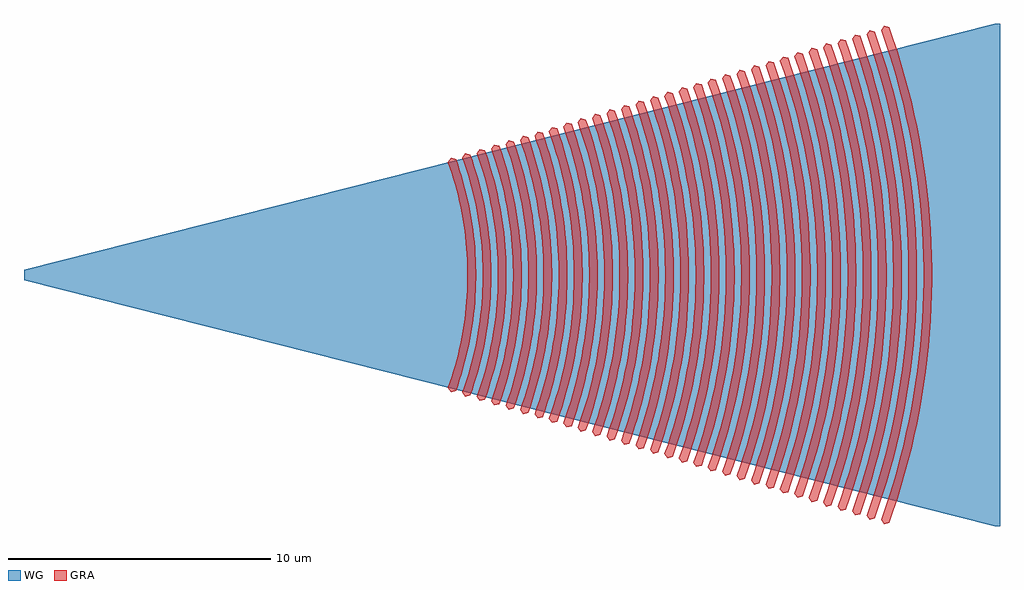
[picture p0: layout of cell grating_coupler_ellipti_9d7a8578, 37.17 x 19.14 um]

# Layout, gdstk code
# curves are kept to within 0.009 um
import gdstk
lib = gdstk.Library(unit=1e-6, precision=1e-09)
def P(c, l, *ps):  # polygons
    for p in ps: c.add(gdstk.Polygon(p, *l))
WG = (3, 0)
GRA = (6, 0)

grating_coupler_ellipti_ = lib.new_cell('grating_coupler_ellipti_9d7a8578')
P(grating_coupler_ellipti_, WG, [(34.97,-9.57),(-2,-0.2),(-2,0.2),(34.97,9.57),(35.17,9.57),(35.17,-9.57)])
P(grating_coupler_ellipti_, GRA, [(14.262,-4.461),(14.143,-4.303),(14.287,-3.875),(14.475,-3.226),(14.581,-2.789),(14.711,-2.127),(14.806,-1.459),(14.849,-1.011),(14.888,-0.113),(14.885,0.338),(14.849,1.011),(14.806,1.459),(14.711,2.127),(14.581,2.789),(14.475,3.226),(14.287,3.875),(14.143,4.303),(14.262,4.461),(14.453,4.411),(14.669,3.754),(14.903,2.861),(15.035,2.181),(15.132,1.497),(15.193,0.807),(15.218,0.115),(15.205,-0.576),(15.157,-1.267),(15.072,-1.954),(14.903,-2.861),(14.669,-3.754),(14.453,-4.411)],
  [(14.812,-4.628),(14.693,-4.47),(14.911,-3.803),(15.038,-3.352),(15.148,-2.898),(15.283,-2.21),(15.382,-1.515),(15.427,-1.05),(15.456,-0.584),(15.467,-0.117),(15.464,0.351),(15.443,0.817),(15.353,1.747),(15.242,2.44),(15.095,3.125),(14.911,3.803),(14.693,4.47),(14.812,4.628),(15.003,4.578),(15.227,3.897),(15.47,2.97),(15.607,2.264),(15.708,1.553),(15.771,0.837),(15.796,0.119),(15.784,-0.598),(15.734,-1.315),(15.646,-2.028),(15.519,-2.735),(15.415,-3.203),(15.293,-3.666),(15.003,-4.578)],
  [(15.362,-4.796),(15.242,-4.638),(15.398,-4.177),(15.601,-3.477),(15.766,-2.769),(15.855,-2.293),(15.928,-1.813),(15.983,-1.331),(16.022,-0.848),(16.046,-0.122),(16.043,0.364),(16.022,0.848),(15.928,1.813),(15.812,2.532),(15.66,3.242),(15.469,3.945),(15.242,4.638),(15.362,4.796),(15.554,4.746),(15.854,3.801),(16.036,3.078),(16.179,2.347),(16.284,1.61),(16.35,0.868),(16.375,0.124),(16.362,-0.62),(16.311,-1.363),(16.219,-2.103),(16.088,-2.835),(15.98,-3.32),(15.854,-3.801),(15.554,-4.746)],
  [(15.912,-4.964),(15.792,-4.806),(15.954,-4.328),(16.164,-3.603),(16.383,-2.623),(16.467,-2.127),(16.559,-1.379),(16.6,-0.879),(16.626,-0.126),(16.622,0.377),(16.6,0.879),(16.502,1.879),(16.383,2.623),(16.225,3.359),(16.028,4.088),(15.792,4.806),(15.912,4.964),(16.104,4.914),(16.344,4.182),(16.603,3.187),(16.751,2.431),(16.859,1.667),(16.928,0.899),(16.954,0.128),(16.941,-0.642),(16.887,-1.411),(16.793,-2.177),(16.657,-2.935),(16.545,-3.437),(16.414,-3.934),(16.268,-4.428),(16.104,-4.914)],
  [(16.462,-5.131),(16.343,-4.973),(16.586,-4.23),(16.727,-3.729),(16.904,-2.969),(17.04,-2.201),(17.109,-1.686),(17.159,-1.169),(17.192,-0.65),(17.204,-0.13),(17.201,0.39),(17.178,0.909),(17.077,1.944),(16.953,2.714),(16.79,3.478),(16.586,4.23),(16.343,4.973),(16.462,5.131),(16.653,5.081),(16.823,4.579),(16.975,4.069),(17.11,3.554),(17.226,3.035),(17.366,2.251),(17.464,1.459),(17.52,0.664),(17.534,0.132),(17.52,-0.664),(17.464,-1.459),(17.366,-2.251),(17.226,-3.035),(17.11,-3.554),(16.975,-4.069),(16.823,-4.579),(16.653,-5.081)],
  [(17.011,-5.299),(16.892,-5.141),(17.144,-4.373),(17.355,-3.594),(17.524,-2.806),(17.613,-2.275),(17.685,-1.743),(17.737,-1.208),(17.77,-0.672),(17.784,-0.135),(17.78,0.403),(17.756,0.94),(17.713,1.476),(17.652,2.009),(17.524,2.806),(17.355,3.594),(17.144,4.373),(16.892,5.141),(17.011,5.299),(17.202,5.249),(17.46,4.467),(17.737,3.404),(17.895,2.595),(18.011,1.781),(18.084,0.96),(18.112,0.137),(18.098,-0.686),(18.041,-1.508),(17.939,-2.325),(17.794,-3.136),(17.675,-3.672),(17.535,-4.203),(17.379,-4.73),(17.202,-5.249)],
  [(17.561,-5.465),(17.442,-5.308),(17.702,-4.515),(17.92,-3.711),(18.041,-3.17),(18.187,-2.349),(18.261,-1.799),(18.314,-1.247),(18.349,-0.694),(18.362,-0.139),(18.358,0.417),(18.334,0.971),(18.261,1.799),(18.187,2.349),(18.041,3.17),(17.92,3.711),(17.702,4.515),(17.442,5.308),(17.561,5.465),(17.752,5.416),(17.934,4.881),(18.096,4.337),(18.24,3.789),(18.363,3.236),(18.513,2.399),(18.617,1.556),(18.662,0.991),(18.692,0.141),(18.677,-0.708),(18.617,-1.556),(18.513,-2.399),(18.363,-3.236),(18.24,-3.789),(18.096,-4.337),(17.934,-4.881),(17.752,-5.416)],
  [(18.111,-5.634),(17.992,-5.476),(18.26,-4.658),(18.485,-3.828),(18.61,-3.27),(18.76,-2.425),(18.836,-1.856),(18.891,-1.287),(18.927,-0.716),(18.942,-0.144),(18.937,0.43),(18.912,1.001),(18.866,1.572),(18.801,2.14),(18.665,2.989),(18.485,3.828),(18.26,4.658),(17.992,5.476),(18.111,5.634),(18.302,5.584),(18.49,5.031),(18.657,4.471),(18.805,3.906),(18.932,3.336),(19.086,2.473),(19.194,1.604),(19.24,1.021),(19.27,0.146),(19.255,-0.73),(19.194,-1.604),(19.086,-2.473),(18.932,-3.336),(18.805,-3.906),(18.657,-4.471),(18.49,-5.031),(18.302,-5.584)],
  [(18.661,-5.801),(18.542,-5.643),(18.818,-4.801),(18.978,-4.231),(19.179,-3.37),(19.334,-2.498),(19.412,-1.913),(19.469,-1.326),(19.506,-0.737),(19.52,-0.148),(19.516,0.443),(19.49,1.032),(19.412,1.913),(19.334,2.498),(19.179,3.37),(18.978,4.231),(18.818,4.801),(18.542,5.643),(18.661,5.801),(18.852,5.751),(19.045,5.182),(19.217,4.605),(19.37,4.023),(19.501,3.436),(19.66,2.548),(19.771,1.652),(19.834,0.751),(19.85,0.15),(19.834,-0.751),(19.771,-1.652),(19.66,-2.548),(19.501,-3.436),(19.37,-4.023),(19.217,-4.605),(19.045,-5.182),(18.852,-5.751)],
  [(19.211,-5.969),(19.092,-5.811),(19.376,-4.943),(19.615,-4.063),(19.748,-3.47),(19.907,-2.573),(19.988,-1.97),(20.046,-1.366),(20.084,-0.759),(20.1,-0.152),(20.095,0.456),(20.068,1.063),(19.988,1.97),(19.907,2.573),(19.748,3.47),(19.615,4.063),(19.376,4.943),(19.092,5.811),(19.211,5.969),(19.402,5.919),(19.601,5.333),(19.778,4.739),(19.935,4.141),(20.07,3.536),(20.233,2.621),(20.347,1.7),(20.396,1.083),(20.428,0.154),(20.412,-0.773),(20.347,-1.7),(20.233,-2.621),(20.07,-3.536),(19.935,-4.141),(19.778,-4.739),(19.601,-5.333),(19.402,-5.919)],
  [(19.761,-6.137),(19.642,-5.979),(19.842,-5.384),(20.104,-4.483),(20.317,-3.57),(20.481,-2.646),(20.564,-2.027),(20.624,-1.405),(20.663,-0.781),(20.678,-0.157),(20.674,0.469),(20.646,1.093),(20.564,2.027),(20.481,2.646),(20.317,3.57),(20.104,4.483),(19.842,5.384),(19.642,5.979),(19.761,6.137),(19.952,6.087),(20.156,5.484),(20.338,4.875),(20.5,4.258),(20.639,3.636),(20.807,2.696),(20.924,1.748),(20.991,0.795),(21.008,0.159),(20.991,-0.795),(20.924,-1.748),(20.807,-2.696),(20.639,-3.636),(20.5,-4.258),(20.338,-4.875),(20.156,-5.484),(19.952,-6.087)],
  [(20.311,-6.304),(20.192,-6.146),(20.492,-5.228),(20.745,-4.297),(20.947,-3.355),(21.054,-2.72),(21.139,-2.084),(21.201,-1.444),(21.241,-0.803),(21.258,-0.161),(21.253,0.482),(21.224,1.124),(21.139,2.084),(21.054,2.72),(20.947,3.355),(20.745,4.297),(20.492,5.228),(20.192,6.146),(20.311,6.304),(20.502,6.254),(20.61,5.947),(20.899,5.008),(21.065,4.375),(21.207,3.736),(21.38,2.77),(21.501,1.796),(21.552,1.144),(21.586,0.163),(21.569,-0.817),(21.501,-1.796),(21.38,-2.77),(21.271,-3.415),(21.139,-4.056),(20.984,-4.693),(20.808,-5.322),(20.61,-5.947),(20.502,-6.254)],
  [(20.861,-6.472),(20.742,-6.314),(21.051,-5.371),(21.31,-4.414),(21.454,-3.77),(21.627,-2.796),(21.715,-2.14),(21.779,-1.484),(21.82,-0.825),(21.836,-0.165),(21.82,0.825),(21.779,1.484),(21.715,2.14),(21.627,2.796),(21.454,3.77),(21.31,4.414),(21.051,5.371),(20.742,6.314),(20.861,6.472),(21.052,6.422),(21.162,6.106),(21.367,5.465),(21.547,4.818),(21.776,3.836),(21.953,2.844),(22.077,1.844),(22.148,0.839),(22.166,0.167),(22.148,-0.839),(22.107,-1.51),(22,-2.512),(21.841,-3.506),(21.706,-4.165),(21.547,-4.818),(21.367,-5.465),(21.162,-6.106),(21.052,-6.422)],
  [(21.411,-6.639),(21.292,-6.481),(21.609,-5.513),(21.875,-4.531),(22.023,-3.87),(22.201,-2.869),(22.291,-2.197),(22.356,-1.523),(22.398,-0.847),(22.415,-0.17),(22.41,0.508),(22.38,1.185),(22.291,2.197),(22.201,2.869),(22.023,3.87),(21.875,4.531),(21.609,5.513),(21.292,6.481),(21.411,6.639),(21.602,6.589),(21.715,6.265),(21.925,5.607),(22.11,4.944),(22.345,3.936),(22.527,2.919),(22.654,1.892),(22.708,1.205),(22.744,0.172),(22.726,-0.861),(22.654,-1.892),(22.527,-2.919),(22.412,-3.598),(22.195,-4.609),(22.02,-5.276),(21.823,-5.937),(21.602,-6.589)],
  [(21.961,-6.807),(21.842,-6.649),(22.167,-5.656),(22.44,-4.649),(22.592,-3.97),(22.774,-2.943),(22.867,-2.254),(22.933,-1.562),(22.977,-0.869),(22.994,-0.174),(22.989,0.522),(22.958,1.216),(22.867,2.254),(22.774,2.943),(22.592,3.97),(22.44,4.649),(22.167,5.656),(21.842,6.649),(21.961,6.807),(22.152,6.757),(22.268,6.424),(22.483,5.75),(22.673,5.07),(22.914,4.036),(23.1,2.993),(23.231,1.941),(23.305,0.883),(23.324,0.176),(23.305,-0.883),(23.231,-1.941),(23.15,-2.643),(22.982,-3.689),(22.84,-4.382),(22.673,-5.07),(22.483,-5.75),(22.268,-6.424),(22.152,-6.757)],
  [(22.511,-6.974),(22.392,-6.816),(22.725,-5.799),(23.005,-4.766),(23.161,-4.07),(23.348,-3.018),(23.442,-2.311),(23.511,-1.602),(23.555,-0.891),(23.574,-0.179),(23.568,0.535),(23.511,1.602),(23.442,2.311),(23.348,3.018),(23.161,4.07),(23.005,4.766),(22.725,5.799),(22.392,6.816),(22.511,6.974),(22.702,6.924),(22.821,6.584),(23.041,5.893),(23.236,5.195),(23.483,4.136),(23.674,3.066),(23.807,1.989),(23.864,1.267),(23.902,0.181),(23.896,-0.543),(23.839,-1.628),(23.724,-2.708),(23.553,-3.781),(23.325,-4.844),(23.141,-5.544),(22.934,-6.239),(22.702,-6.924)],
  [(23.061,-7.142),(22.942,-6.984),(23.283,-5.941),(23.481,-5.237),(23.73,-4.17),(23.921,-3.091),(24.018,-2.368),(24.088,-1.641),(24.134,-0.913),(24.152,-0.183),(24.147,0.548),(24.114,1.277),(24.018,2.368),(23.921,3.091),(23.73,4.17),(23.481,5.237),(23.283,5.941),(22.942,6.984),(23.061,7.142),(23.252,7.092),(23.374,6.742),(23.599,6.035),(23.799,5.321),(24.052,4.236),(24.247,3.141),(24.384,2.037),(24.462,0.927),(24.482,0.185),(24.462,-0.927),(24.384,-2.037),(24.247,-3.141),(24.123,-3.872),(23.89,-4.961),(23.702,-5.678),(23.489,-6.39),(23.252,-7.092)],
  [(23.611,-7.31),(23.491,-7.152),(23.731,-6.441),(24.044,-5.363),(24.298,-4.271),(24.495,-3.167),(24.594,-2.425),(24.666,-1.681),(24.712,-0.935),(24.732,-0.187),(24.726,0.561),(24.666,1.681),(24.594,2.425),(24.495,3.167),(24.298,4.271),(24.044,5.363),(23.731,6.441),(23.491,7.152),(23.611,7.31),(23.803,7.26),(23.926,6.902),(24.157,6.178),(24.362,5.447),(24.62,4.337),(24.821,3.215),(24.961,2.085),(25.04,0.949),(25.06,0.189),(25.04,-0.949),(24.961,-2.085),(24.821,-3.215),(24.694,-3.964),(24.455,-5.078),(24.262,-5.814),(24.045,-6.541),(23.803,-7.26)],
  [(24.16,-7.477),(24.041,-7.319),(24.399,-6.226),(24.7,-5.117),(24.867,-4.371),(25.068,-3.24),(25.17,-2.481),(25.243,-1.72),(25.291,-0.956),(25.31,-0.192),(25.304,0.574),(25.27,1.338),(25.17,2.481),(25.068,3.24),(24.867,4.371),(24.7,5.117),(24.399,6.226),(24.041,7.319),(24.16,7.477),(24.351,7.427),(24.479,7.062),(24.823,5.947),(25.02,5.195),(25.189,4.437),(25.394,3.29),(25.496,2.519),(25.598,1.358),(25.64,0.194),(25.619,-0.97),(25.537,-2.133),(25.394,-3.29),(25.264,-4.055),(25.02,-5.195),(24.823,-5.947),(24.601,-6.692),(24.351,-7.427)],
  [(24.71,-7.645),(24.591,-7.487),(24.842,-6.743),(25.169,-5.614),(25.436,-4.471),(25.58,-3.701),(25.697,-2.927),(25.821,-1.759),(25.869,-0.978),(25.889,-0.196),(25.883,0.587),(25.821,1.759),(25.745,2.538),(25.641,3.314),(25.436,4.471),(25.265,5.235),(24.957,6.369),(24.591,7.487),(24.71,7.645),(24.901,7.595),(25.032,7.221),(25.273,6.463),(25.487,5.698),(25.758,4.537),(25.967,3.364),(26.114,2.181),(26.197,0.992),(26.218,0.198),(26.211,-0.595),(26.149,-1.785),(26.023,-2.971),(25.835,-4.147),(25.585,-5.313),(25.383,-6.081),(25.156,-6.843),(24.901,-7.595)],
  [(25.26,-7.812),(25.141,-7.654),(25.516,-6.511),(25.83,-5.352),(26.005,-4.571),(26.215,-3.389),(26.321,-2.595),(26.398,-1.799),(26.448,-1),(26.468,-0.201),(26.462,0.6),(26.398,1.799),(26.321,2.595),(26.215,3.389),(26.005,4.571),(25.83,5.352),(25.516,6.511),(25.141,7.654),(25.26,7.812),(25.451,7.762),(25.585,7.38),(25.832,6.605),(26.05,5.824),(26.327,4.637),(26.541,3.437),(26.691,2.229),(26.776,1.014),(26.798,0.203),(26.776,-1.014),(26.691,-2.229),(26.541,-3.437),(26.405,-4.238),(26.15,-5.43),(25.944,-6.215),(25.712,-6.994),(25.451,-7.762)],
  [(25.81,-7.98),(25.691,-7.822),(26.074,-6.654),(26.295,-5.865),(26.574,-4.671),(26.724,-3.867),(26.897,-2.652),(26.976,-1.838),(27.026,-1.022),(27.048,-0.205),(27.041,0.614),(27.005,1.43),(26.897,2.652),(26.788,3.462),(26.574,4.671),(26.395,5.469),(26.074,6.654),(25.691,7.822),(25.81,7.98),(26.001,7.93),(26.138,7.539),(26.39,6.748),(26.613,5.949),(26.896,4.737),(27.114,3.512),(27.267,2.277),(27.333,1.45),(27.376,0.207),(27.369,-0.622),(27.304,-1.864),(27.172,-3.102),(26.976,-4.33),(26.715,-5.547),(26.504,-6.349),(26.267,-7.145),(26.001,-7.93)],
  [(26.36,-8.147),(26.241,-7.989),(26.632,-6.797),(26.96,-5.586),(27.142,-4.771),(27.362,-3.537),(27.473,-2.709),(27.553,-1.878),(27.605,-1.044),(27.626,-0.209),(27.62,0.627),(27.583,1.461),(27.473,2.709),(27.362,3.537),(27.142,4.771),(26.96,5.586),(26.632,6.797),(26.241,7.989),(26.36,8.147),(26.551,8.097),(26.69,7.699),(26.948,6.891),(27.176,6.075),(27.464,4.837),(27.688,3.587),(27.844,2.325),(27.911,1.481),(27.956,0.211),(27.933,-1.058),(27.844,-2.325),(27.688,-3.587),(27.546,-4.421),(27.28,-5.664),(27.065,-6.483),(26.823,-7.296),(26.551,-8.097)],
  [(26.91,-8.315),(26.791,-8.157),(27.064,-7.347),(27.421,-6.117),(27.711,-4.871),(27.868,-4.033),(27.995,-3.189),(28.093,-2.342),(28.161,-1.492),(28.206,-0.213),(28.198,0.64),(28.161,1.492),(28.048,2.766),(27.935,3.611),(27.711,4.871),(27.421,6.117),(27.19,6.939),(26.791,8.157),(26.91,8.315),(27.101,8.265),(27.243,7.858),(27.506,7.033),(27.739,6.201),(28.033,4.937),(28.261,3.661),(28.421,2.374),(28.489,1.512),(28.534,0.217),(28.511,-1.08),(28.421,-2.374),(28.261,-3.661),(28.117,-4.513),(27.845,-5.781),(27.625,-6.618),(27.378,-7.447),(27.101,-8.265)],
  [(27.46,-8.483),(27.341,-8.325),(27.62,-7.498),(27.984,-6.243),(28.28,-4.971),(28.44,-4.116),(28.624,-2.822),(28.708,-1.956),(28.762,-1.088),(28.784,-0.217),(28.777,0.653),(28.739,1.522),(28.624,2.822),(28.509,3.685),(28.28,4.971),(27.984,6.243),(27.62,7.498),(27.341,8.325),(27.46,8.483),(27.651,8.433),(27.796,8.017),(28.064,7.176),(28.302,6.327),(28.602,5.037),(28.835,3.735),(28.997,2.422),(29.067,1.542),(29.114,0.221),(29.09,-1.102),(29.036,-1.982),(28.896,-3.298),(28.688,-4.604),(28.51,-5.469),(28.302,-6.327),(27.934,-7.598),(27.651,-8.433)],
  [(28.01,-8.65),(27.891,-8.492),(28.175,-7.649),(28.431,-6.798),(28.546,-6.368),(28.849,-5.071),(29.012,-4.199),(29.145,-3.32),(29.246,-2.438),(29.317,-1.553),(29.363,-0.222),(29.356,0.666),(29.317,1.553),(29.2,2.879),(29.082,3.759),(28.849,5.071),(28.655,5.938),(28.431,6.798),(28.306,7.224),(27.891,8.492),(28.01,8.65),(28.201,8.6),(28.349,8.177),(28.747,6.886),(28.975,6.016),(29.171,5.137),(29.408,3.809),(29.574,2.47),(29.645,1.573),(29.692,0.224),(29.668,-1.124),(29.574,-2.47),(29.408,-3.809),(29.258,-4.696),(28.975,-6.016),(28.747,-6.886),(28.489,-7.749),(28.201,-8.6)],
  [(28.56,-8.818),(28.441,-8.66),(28.731,-7.8),(29.109,-6.494),(29.418,-5.171),(29.584,-4.281),(29.776,-2.936),(29.863,-2.035),(29.919,-1.132),(29.942,-0.227),(29.935,0.679),(29.895,1.584),(29.776,2.936),(29.655,3.833),(29.505,4.727),(29.22,6.055),(28.864,7.367),(28.441,8.66),(28.56,8.818),(28.751,8.768),(28.902,8.336),(29.18,7.461),(29.427,6.578),(29.74,5.237),(29.981,3.883),(30.151,2.518),(30.223,1.604),(30.272,0.229),(30.247,-1.146),(30.151,-2.518),(29.981,-3.883),(29.829,-4.787),(29.54,-6.133),(29.307,-7.02),(29.045,-7.9),(28.751,-8.768)],
  [(29.11,-8.985),(28.991,-8.827),(29.286,-7.951),(29.672,-6.62),(29.987,-5.271),(30.156,-4.364),(30.351,-2.993),(30.44,-2.074),(30.497,-1.154),(30.522,-0.231),(30.514,0.692),(30.473,1.614),(30.351,2.993),(30.229,3.908),(29.987,5.271),(29.785,6.172),(29.552,7.066),(29.422,7.51),(28.991,8.827),(29.11,8.985),(29.301,8.935),(29.6,8.051),(29.99,6.704),(30.309,5.337),(30.555,3.958),(30.727,2.566),(30.801,1.634),(30.85,0.233),(30.825,-1.168),(30.727,-2.566),(30.555,-3.958),(30.399,-4.879),(30.105,-6.25),(29.868,-7.154),(29.6,-8.051),(29.301,-8.935)],
  [(29.66,-9.153),(29.541,-8.995),(29.981,-7.652),(30.235,-6.745),(30.555,-5.371),(30.729,-4.447),(30.927,-3.05),(31.018,-2.114),(31.076,-1.175),(31.1,-0.236),(31.093,0.706),(31.018,2.114),(30.927,3.05),(30.802,3.982),(30.646,4.91),(30.35,6.289),(29.981,7.652),(29.541,8.995),(29.66,9.153),(29.851,9.103),(30.156,8.202),(30.428,7.288),(30.67,6.367),(30.97,4.97),(31.195,3.56),(31.304,2.614),(31.379,1.665),(31.43,0.238),(31.421,-0.714),(31.346,-2.14),(31.195,-3.56),(30.97,-4.97),(30.67,-6.367),(30.428,-7.288),(30.156,-8.202),(29.851,-9.103)],
  [(30.21,-9.32),(30.091,-9.162),(30.539,-7.795),(30.798,-6.871),(31.124,-5.472),(31.301,-4.53),(31.443,-3.582),(31.553,-2.63),(31.629,-1.676),(31.68,-0.239),(31.671,0.719),(31.629,1.676),(31.503,3.107),(31.376,4.057),(31.301,4.53),(31.124,5.472),(30.798,6.871),(30.539,7.795),(30.091,9.162),(30.21,9.32),(30.401,9.27),(30.711,8.352),(30.855,7.889),(31.116,6.955),(31.345,6.012),(31.446,5.538),(31.702,4.105),(31.881,2.662),(31.957,1.696),(32.008,0.243),(31.982,-1.211),(31.881,-2.662),(31.702,-4.105),(31.54,-5.062),(31.235,-6.484),(30.989,-7.422),(30.711,-8.352),(30.401,-9.27)],
  [(30.759,-9.488),(30.64,-9.33),(30.953,-8.403),(31.361,-6.997),(31.693,-5.572),(31.873,-4.613),(32.078,-3.163),(32.172,-2.193),(32.233,-1.219),(32.259,-0.243),(32.25,0.732),(32.207,1.706),(32.078,3.163),(31.949,4.131),(31.873,4.613),(31.693,5.572),(31.361,6.997),(30.953,8.403),(30.64,9.33),(30.759,9.488),(30.95,9.438),(31.267,8.503),(31.549,7.557),(31.8,6.602),(32.111,5.153),(32.275,4.179),(32.457,2.71),(32.535,1.726),(32.587,0.247),(32.561,-1.233),(32.457,-2.71),(32.275,-4.179),(32.111,-5.153),(31.8,-6.602),(31.549,-7.557),(31.267,-8.503),(30.95,-9.438)])

lib.write_gds('grating_coupler_ellipti_9d7a8578.gds')
